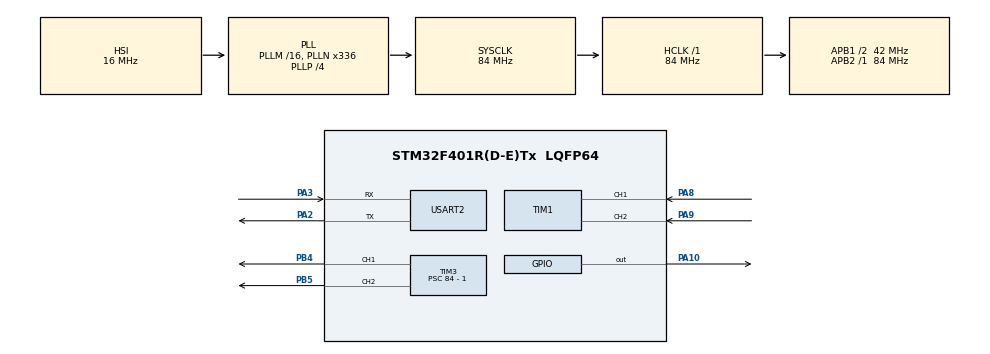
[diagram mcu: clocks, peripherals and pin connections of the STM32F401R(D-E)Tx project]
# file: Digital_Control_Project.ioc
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Mcu.Family=STM32F4
Mcu.Name=STM32F401R(D-E)Tx
Mcu.Package=LQFP64
NVIC.PriorityGroup=NVIC_PRIORITYGROUP_4
NVIC.TIM4_IRQn=true\:0\:0\:false\:false\:true\:true\:true\:true
PA10.Signal=GPIO_Output
PA2.Mode=Asynchronous
PA2.Signal=USART2_TX
PA3.Mode=Asynchronous
PA3.Signal=USART2_RX
PA8.Signal=S_TIM1_CH1
PA9.Signal=S_TIM1_CH2
PB4.Signal=S_TIM3_CH1
PB5.Signal=S_TIM3_CH2
ProjectManager.HeapSize=0x200
ProjectManager.StackSize=0x400
ProjectManager.TargetToolchain=STM32CubeIDE
RCC.48MHZClocksFreq_Value=84000000
RCC.AHBFreq_Value=84000000
RCC.APB1CLKDivider=RCC_HCLK_DIV2
RCC.APB1Freq_Value=42000000
RCC.APB1TimFreq_Value=84000000
RCC.APB2Freq_Value=84000000
RCC.APB2TimFreq_Value=84000000
RCC.CortexFreq_Value=84000000
RCC.HCLKFreq_Value=84000000
RCC.HSE_VALUE=25000000
RCC.HSI_VALUE=16000000
RCC.LSE_VALUE=32768
RCC.PLLN=336
RCC.PLLP=RCC_PLLP_DIV4
RCC.SYSCLKFreq_VALUE=84000000
RCC.SYSCLKSource=RCC_SYSCLKSOURCE_PLLCLK
RCC.VCOOutputFreq_Value=336000000
SH.S_TIM1_CH1.0=TIM1_CH1,Encoder_Interface
SH.S_TIM1_CH2.0=TIM1_CH2,Encoder_Interface
SH.S_TIM3_CH1.0=TIM3_CH1,PWM Generation1 CH1
SH.S_TIM3_CH2.0=TIM3_CH2,PWM Generation2 CH2
TIM1.EncoderMode=TIM_ENCODERMODE_TI12
TIM3.AutoReloadPreload=TIM_AUTORELOAD_PRELOAD_ENABLE
TIM3.Channel-PWM\ Generation1\ CH1=TIM_CHANNEL_1
TIM3.Channel-PWM\ Generation2\ CH2=TIM_CHANNEL_2
TIM3.Period=500 - 1
TIM3.Prescaler=84 - 1
TIM4.Period=5000 - 1
TIM4.Prescaler=84 - 1
USART2.VirtualMode=VM_ASYNC
VP_TIM3_VS_ClockSourceINT.Mode=Internal
VP_TIM4_VS_ClockSourceINT.Mode=Internal
board=custom

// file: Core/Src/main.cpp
/* USER CODE BEGIN Header */
/**
 ******************************************************************************
 * @file           : main.c
 * @brief          : Main program body
 ******************************************************************************
 * @attention
 *
 * <h2><center>&copy; Copyright (c) 2021 STMicroelectronics.
 * All rights reserved.</center></h2>
 *
 * This software component is licensed by ST under BSD 3-Clause license,
 * the "License"; You may not use this file except in compliance with the
 * License. You may obtain a copy of the License at:
 *                        opensource.org/licenses/BSD-3-Clause
 *
 ******************************************************************************
 */
/* USER CODE END Header */
#include "main.h"

/* USER CODE BEGIN Includes */
#include "stdio.h"
#include "stdlib.h"
#include "stdbool.h"
#include "math.h"
#include "string.h"
#include  <errno.h>
#include  <sys/unistd.h> // STDOUT_FILENO, STDERR_FILENO
/* USER CODE END Includes */

/* USER CODE BEGIN PD */
#define WAITING 2 // the number of seconds to wait from one reference change to the next. It also coincides with the number of seconds between one USART send and the next
/* USER CODE END PD */

TIM_HandleTypeDef htim1;
TIM_HandleTypeDef htim3;
TIM_HandleTypeDef htim4;

UART_HandleTypeDef huart2;

void SystemClock_Config(void);
static void MX_GPIO_Init(void);
static void MX_USART2_UART_Init(void);
static void MX_TIM3_Init(void);
static void MX_TIM1_Init(void);
static void MX_TIM4_Init(void);

/* USER CODE BEGIN 0 */
/* BEGIN CIRCULAR DATA BUFFER */
typedef struct circular_buffer {
	void *buffer;     // data buffer
	void *buffer_end; // end of data buffer
	size_t capacity;  // maximum number of items in the buffer
	size_t count;     // number of items in the buffer
	size_t sz;        // size of each item in the buffer
	void *head;       // pointer to head
	void *tail;       // pointer to tail
	bool writing;  // signals if the buffer is being written
} circular_buffer;

void cb_init(circular_buffer *cb, size_t capacity, size_t sz) {
	cb->buffer = calloc(capacity, sz);
	if (cb->buffer == NULL)
		printf("ALLOCATED NULL\n\r");
	// handle error
	cb->buffer_end = (char*) cb->buffer + capacity * sz;
	cb->capacity = capacity;
	cb->count = 0;
	cb->sz = sz;
	cb->head = cb->buffer;
	cb->tail = cb->buffer;
	cb->writing = false;

}

void cb_free(circular_buffer *cb) {
	free(cb->buffer);
	// clear out other fields too, just to be safe
}

void cb_push_back(circular_buffer *cb, const void *item) {
	if (cb->count == cb->capacity) {
		printf("ERROR PUSH BACK \n\r");
		// handle error
	}
	cb->writing = true;
	memmove(cb->head, item, cb->sz);
	cb->head = (char*) cb->head + cb->sz;
	if (cb->head == cb->buffer_end)
		cb->head = cb->buffer;
	cb->count++;
	cb->writing = false;
}

void cb_pop_front(circular_buffer *cb, void *item) {
	if (cb->count == 0) {
		printf("ERROR PUSH BACK \n\r");
		// handle error
	}
	memmove(item, cb->tail, cb->sz);
	cb->tail = (char*) cb->tail + cb->sz;
	if (cb->tail == cb->buffer_end)
		cb->tail = cb->buffer;
	while ((cb->writing))
		;
	cb->count--;
}

circular_buffer myBuff;

/* BEGIN RECORD TYPEDEF*/
typedef struct record {
	double current_u; // value of the current controller output
	double current_y; // value of the current motor output (speed)
	uint32_t cycleCoreDuration; // time needed to read, compute and actuate
	uint32_t cycleBeginDelay; // difference between the actual and the expected absolute start time of the cycle
	uint32_t currentTimestamp; // current timestamp in millis
} record;

/* BEGIN USART WRITE FUNCTION (used by printf)*/
int _write(int file, char *data, int len) {
	if ((file != STDOUT_FILENO) && (file != STDERR_FILENO)) {
		errno = EBADF;
		return -1;
	}

	// arbitrary timeout 1000
	HAL_StatusTypeDef status = HAL_UART_Transmit(&huart2, (uint8_t*) data, len,
			1000);

	// return # of bytes written - as best we can tell
	return (status == HAL_OK ? len : 0);
}

void setPulseFromDutyValue(double dutyVal) {
	HAL_GPIO_WritePin(GPIOA, GPIO_PIN_10, GPIO_PIN_SET); // enable the motor driver

	uint16_t channelToModulate;
	uint16_t channelToStop;

	if (dutyVal > 0) {
		channelToModulate = TIM_CHANNEL_1;
		channelToStop = TIM_CHANNEL_2;
	} else {
		channelToModulate = TIM_CHANNEL_2;
		channelToStop = TIM_CHANNEL_1;
	}

	__HAL_TIM_SET_COMPARE(&htim3, channelToStop, 0);
	__HAL_TIM_SET_COMPARE(&htim3, channelToModulate,
			(abs(dutyVal) * ((double )htim3.Init.Period)) / 100); //cast integer value to double to correctly perform division between decimal numbers
}

double getSpeedByDelta(double ticksDelta, double Ts) {
	return ticksDelta * 60 / (3591.84 * Ts);
}

double getTicksDelta(double currentTicks, double lastTicks, double Ts) {
	double delta;

	if (abs(currentTicks - lastTicks) <= ceil(8400 * Ts))
		delta = currentTicks - lastTicks;
	else {
		if (lastTicks > currentTicks)
			delta = currentTicks + pow(2, 16) - 1 - lastTicks;
		else
			delta = currentTicks - pow(2, 16) + 1 - lastTicks;
	}
	return delta;
}

int cycleduration;
double lastTicks = 0;
double currentTicks = 0;
uint32_t ticControlStep;
uint32_t tocControlStep;
uint32_t controlComputationDuration;
double u_last = 0;
double e_last = 0;
double z_last = 0;
double speed_last = 0;
double u2_last = 0;
double Ts = 0.005;
double referenceVals[8] = { 60.0, 80.0, 100.0, 130.0, -130.0, -100.0, -80.0,
		-60.0 };
double referenceVal;
uint32_t k_controller = -1;
int samplingPrescaler = 2;
int samplingPrescalerCounter = 0;

double **Ad;
double **Bd;
double **Cd;
double **state_kplus1;
double **state_k;
double **y_k_expected;
double **L;

int Ad_rows = 2;
int Ad_columns = 2;
int Bd_rows = 2;
int Bd_columns = 1;
int Cd_rows = 1;
int Cd_columns = 2;
int L_rows = 2;
int L_columns = 1;
int state_rows = 2;
int state_columns = 1;
int y_k_expected_rows = 1;
int y_k_expected_columns = 1;
int u_rows = 1;
int u_columns = 1;

double kp_1 = 0.0770;
double kp_2 = -0.0645;
double ki = 0.042;
double y_integrator = 0;
double y_integrator_last = 0;
double error_integrator_last = 0;

double** createMatrix(int n, int m) {
	double *values = (double*) calloc(m * n, sizeof(double));
	double **rows = (double**) malloc(n * sizeof(double*));
	for (int i = 0; i < n; ++i) {
		rows[i] = values + i * m;
	}
	return rows;
}

void multiply_matricies(double **m1, double **m2, int m1_rows, int m1_columns,
		int m2_rows, int m2_columns, double **m3) {

	for (int i = 0; i < m1_rows; i++) {
		for (int j = 0; j < m2_columns; j++) {
			m3[i][j] = 0;
			for (int k = 0; k < m1_rows && k<m2_rows; k++) {
				m3[i][j] += m1[i][k] * m2[k][j];
			}
		}
	}
}

void destroyArray(double **arr) {
	free(*arr);
	free(arr);
}

void matrix_inizialization() {
	Ad = createMatrix(Ad_rows, Ad_columns);
	Ad[0][0] = 0.8645;
	Ad[0][1] = -0.0565;
	Ad[1][0] = 1.0;
	Ad[1][1] = 0;

	Bd = createMatrix(Bd_rows, Bd_columns);
	Bd[0][0] = 1;
	Bd[1][0] = 0;

	Cd = createMatrix(Cd_rows, Cd_columns);
	Cd[0][0] = 1.4424;
	Cd[0][1] = 0.4751;

	L = createMatrix(L_rows, L_columns);
	L[0][0] = 0.3789;
	L[1][0] = 0.4549;

	state_kplus1 = createMatrix(state_rows, state_columns);
	state_k = createMatrix(state_rows, state_columns);
	y_k_expected = createMatrix(y_k_expected_rows, y_k_expected_columns);

}

/**
 * Return the result in the matrix m1
 */
void matrix_sum(double **m1, double **m2, double rows, double columns) {

	for (int i = 0; i < rows; i++) {
		for (int j = 0; j < columns; j++) {
			m1[i][j] = m1[i][j] + m2[i][j];
		}
	}
}

/* USER CODE END 0 */

int main(void) {
	/* MCU Configuration--------------------------------------------------------*/

	matrix_inizialization();
	/* Reset of all peripherals, Initializes the Flash interface and the Systick. */
	HAL_Init();

	/* USER CODE BEGIN Init */
	size_t bufferSize = (size_t) ceil(2 * WAITING / (Ts * samplingPrescaler));
	cb_init(&myBuff, bufferSize, sizeof(record));

	/* USER CODE END Init */

	/* Configure the system clock */
	SystemClock_Config();

	/* Initialize all configured peripherals */
	MX_GPIO_Init();
	MX_USART2_UART_Init();
	MX_TIM3_Init();
	MX_TIM1_Init();
	MX_TIM4_Init();
	/* USER CODE BEGIN 2 */
	HAL_TIM_PWM_Start(&htim3, TIM_CHANNEL_1);
	HAL_TIM_PWM_Start(&htim3, TIM_CHANNEL_2);
	HAL_TIM_Base_Start(&htim1);
	HAL_TIM_Base_Start_IT(&htim4);
	/* USER CODE END 2 */

	/* Infinite loop */
	/* USER CODE BEGIN WHILE */

	int referenceIndex = 0;

	referenceVal = referenceVals[referenceIndex];
	printf("INIT\n\r"); // initialize the Matlab tool for COM data acquiring

	while (1) {
		size_t nEntriesToSend = myBuff.count; //number of samples not read yet
		record retrieved; //buffer entry

		for (size_t count = 0; count < nEntriesToSend; count++) {
			cb_pop_front(&myBuff, &retrieved); //take entry from the buffer
			printf("%lu, %f, %f, %lu\n\r", retrieved.currentTimestamp,
					retrieved.current_u, retrieved.current_y,
					retrieved.cycleCoreDuration); // send values via USART using format: value1, value2, value3, ... valuen \n \r
		}
		referenceVal = referenceVals[referenceIndex];
		referenceIndex = referenceIndex + 1;
		HAL_Delay(WAITING * 1000); // takes a time value in ms
		if (referenceIndex > 7)
			referenceIndex = 0;

		/* USER CODE END WHILE */

	}
}

void SystemClock_Config(void) {
	RCC_OscInitTypeDef RCC_OscInitStruct = { 0 };
	RCC_ClkInitTypeDef RCC_ClkInitStruct = { 0 };

	/** Configure the main internal regulator output voltage
	 */
	__HAL_RCC_PWR_CLK_ENABLE();
	__HAL_PWR_VOLTAGESCALING_CONFIG(PWR_REGULATOR_VOLTAGE_SCALE2);
	/** Initializes the RCC Oscillators according to the specified parameters
	 * in the RCC_OscInitTypeDef structure.
	 */
	RCC_OscInitStruct.OscillatorType = RCC_OSCILLATORTYPE_HSI;
	RCC_OscInitStruct.HSIState = RCC_HSI_ON;
	RCC_OscInitStruct.HSICalibrationValue = RCC_HSICALIBRATION_DEFAULT;
	RCC_OscInitStruct.PLL.PLLState = RCC_PLL_ON;
	RCC_OscInitStruct.PLL.PLLSource = RCC_PLLSOURCE_HSI;
	RCC_OscInitStruct.PLL.PLLM = 16;
	RCC_OscInitStruct.PLL.PLLN = 336;
	RCC_OscInitStruct.PLL.PLLP = RCC_PLLP_DIV4;
	RCC_OscInitStruct.PLL.PLLQ = 4;
	if (HAL_RCC_OscConfig(&RCC_OscInitStruct) != HAL_OK) {
		Error_Handler();
	}
	/** Initializes the CPU, AHB and APB buses clocks
	 */
	RCC_ClkInitStruct.ClockType = RCC_CLOCKTYPE_HCLK | RCC_CLOCKTYPE_SYSCLK
			| RCC_CLOCKTYPE_PCLK1 | RCC_CLOCKTYPE_PCLK2;
	RCC_ClkInitStruct.SYSCLKSource = RCC_SYSCLKSOURCE_PLLCLK;
	RCC_ClkInitStruct.AHBCLKDivider = RCC_SYSCLK_DIV1;
	RCC_ClkInitStruct.APB1CLKDivider = RCC_HCLK_DIV2;
	RCC_ClkInitStruct.APB2CLKDivider = RCC_HCLK_DIV1;

	if (HAL_RCC_ClockConfig(&RCC_ClkInitStruct, FLASH_LATENCY_2) != HAL_OK) {
		Error_Handler();
	}
}

static void MX_TIM1_Init(void) {

	TIM_Encoder_InitTypeDef sConfig = { 0 };
	TIM_MasterConfigTypeDef sMasterConfig = { 0 };

	htim1.Instance = TIM1;
	htim1.Init.Prescaler = 0;
	htim1.Init.CounterMode = TIM_COUNTERMODE_UP;
	htim1.Init.Period = 65535;
	htim1.Init.ClockDivision = TIM_CLOCKDIVISION_DIV1;
	htim1.Init.RepetitionCounter = 0;
	htim1.Init.AutoReloadPreload = TIM_AUTORELOAD_PRELOAD_DISABLE;
	sConfig.EncoderMode = TIM_ENCODERMODE_TI12;
	sConfig.IC1Polarity = TIM_ICPOLARITY_RISING;
	sConfig.IC1Selection = TIM_ICSELECTION_DIRECTTI;
	sConfig.IC1Prescaler = TIM_ICPSC_DIV1;
	sConfig.IC1Filter = 0;
	sConfig.IC2Polarity = TIM_ICPOLARITY_RISING;
	sConfig.IC2Selection = TIM_ICSELECTION_DIRECTTI;
	sConfig.IC2Prescaler = TIM_ICPSC_DIV1;
	sConfig.IC2Filter = 0;
	if (HAL_TIM_Encoder_Init(&htim1, &sConfig) != HAL_OK) {
		Error_Handler();
	}
	sMasterConfig.MasterOutputTrigger = TIM_TRGO_RESET;
	sMasterConfig.MasterSlaveMode = TIM_MASTERSLAVEMODE_DISABLE;
	if (HAL_TIMEx_MasterConfigSynchronization(&htim1, &sMasterConfig)
			!= HAL_OK) {
		Error_Handler();
	}

}

static void MX_TIM3_Init(void) {

	TIM_ClockConfigTypeDef sClockSourceConfig = { 0 };
	TIM_MasterConfigTypeDef sMasterConfig = { 0 };
	TIM_OC_InitTypeDef sConfigOC = { 0 };

	htim3.Instance = TIM3;
	htim3.Init.Prescaler = 84 - 1;
	htim3.Init.CounterMode = TIM_COUNTERMODE_UP;
	htim3.Init.Period = 500 - 1;
	htim3.Init.ClockDivision = TIM_CLOCKDIVISION_DIV1;
	htim3.Init.AutoReloadPreload = TIM_AUTORELOAD_PRELOAD_ENABLE;
	if (HAL_TIM_Base_Init(&htim3) != HAL_OK) {
		Error_Handler();
	}
	sClockSourceConfig.ClockSource = TIM_CLOCKSOURCE_INTERNAL;
	if (HAL_TIM_ConfigClockSource(&htim3, &sClockSourceConfig) != HAL_OK) {
		Error_Handler();
	}
	if (HAL_TIM_PWM_Init(&htim3) != HAL_OK) {
		Error_Handler();
	}
	sMasterConfig.MasterOutputTrigger = TIM_TRGO_RESET;
	sMasterConfig.MasterSlaveMode = TIM_MASTERSLAVEMODE_DISABLE;
	if (HAL_TIMEx_MasterConfigSynchronization(&htim3, &sMasterConfig)
			!= HAL_OK) {
		Error_Handler();
	}
	sConfigOC.OCMode = TIM_OCMODE_PWM1;
	sConfigOC.Pulse = 0;
	sConfigOC.OCPolarity = TIM_OCPOLARITY_HIGH;
	sConfigOC.OCFastMode = TIM_OCFAST_DISABLE;
	if (HAL_TIM_PWM_ConfigChannel(&htim3, &sConfigOC, TIM_CHANNEL_1)
			!= HAL_OK) {
		Error_Handler();
	}
	if (HAL_TIM_PWM_ConfigChannel(&htim3, &sConfigOC, TIM_CHANNEL_2)
			!= HAL_OK) {
		Error_Handler();
	}
	HAL_TIM_MspPostInit(&htim3);

}

static void MX_TIM4_Init(void) {

	TIM_ClockConfigTypeDef sClockSourceConfig = { 0 };
	TIM_MasterConfigTypeDef sMasterConfig = { 0 };

	htim4.Instance = TIM4;
	htim4.Init.Prescaler = 84 - 1;
	htim4.Init.CounterMode = TIM_COUNTERMODE_UP;
	htim4.Init.Period = 5000 - 1;
	htim4.Init.ClockDivision = TIM_CLOCKDIVISION_DIV1;
	htim4.Init.AutoReloadPreload = TIM_AUTORELOAD_PRELOAD_DISABLE;
	if (HAL_TIM_Base_Init(&htim4) != HAL_OK) {
		Error_Handler();
	}
	sClockSourceConfig.ClockSource = TIM_CLOCKSOURCE_INTERNAL;
	if (HAL_TIM_ConfigClockSource(&htim4, &sClockSourceConfig) != HAL_OK) {
		Error_Handler();
	}
	sMasterConfig.MasterOutputTrigger = TIM_TRGO_RESET;
	sMasterConfig.MasterSlaveMode = TIM_MASTERSLAVEMODE_DISABLE;
	if (HAL_TIMEx_MasterConfigSynchronization(&htim4, &sMasterConfig)
			!= HAL_OK) {
		Error_Handler();
	}

}

static void MX_USART2_UART_Init(void) {

	huart2.Instance = USART2;
	huart2.Init.BaudRate = 115200;
	huart2.Init.WordLength = UART_WORDLENGTH_8B;
	huart2.Init.StopBits = UART_STOPBITS_1;
	huart2.Init.Parity = UART_PARITY_NONE;
	huart2.Init.Mode = UART_MODE_TX_RX;
	huart2.Init.HwFlowCtl = UART_HWCONTROL_NONE;
	huart2.Init.OverSampling = UART_OVERSAMPLING_16;
	if (HAL_UART_Init(&huart2) != HAL_OK) {
		Error_Handler();
	}

}

static void MX_GPIO_Init(void) {
	GPIO_InitTypeDef GPIO_InitStruct = { 0 };

	/* GPIO Ports Clock Enable */
	__HAL_RCC_GPIOA_CLK_ENABLE();
	__HAL_RCC_GPIOB_CLK_ENABLE();

	/*Configure GPIO pin Output Level */
	HAL_GPIO_WritePin(GPIOA, GPIO_PIN_10, GPIO_PIN_RESET);

	/*Configure GPIO pin : PA10 */
	GPIO_InitStruct.Pin = GPIO_PIN_10;
	GPIO_InitStruct.Mode = GPIO_MODE_OUTPUT_PP;
	GPIO_InitStruct.Pull = GPIO_NOPULL;
	GPIO_InitStruct.Speed = GPIO_SPEED_FREQ_LOW;
	HAL_GPIO_Init(GPIOA, &GPIO_InitStruct);

}

void luenberger_observer(double u_last, double y) {

	for(int i=0; i<state_rows;i++){
		for(int j =0; j< state_columns; j++){
			state_k[i][j] = state_kplus1[i][j];
		}
	}

	double **u_matrix = createMatrix(u_rows, u_columns);
	u_matrix[0][0] = u_last;

	double **sum_center = createMatrix(Bd_rows, u_columns);
	multiply_matricies(Bd, u_matrix, Bd_rows, Bd_columns, 1, 1, sum_center);

	double **sub_y = createMatrix(y_k_expected_rows, y_k_expected_columns);
	multiply_matricies(Cd, state_k, Cd_rows, Cd_columns, state_rows, state_columns, y_k_expected);
	sub_y[0][0] = y - y_k_expected[0][0];

	double **sum_top = createMatrix(L_rows, y_k_expected_columns);
	multiply_matricies(L, sub_y, L_rows, L_columns, y_k_expected_rows, y_k_expected_columns, sum_top);

	double **sum_bottom = createMatrix(Ad_rows, state_columns);
	multiply_matricies(Ad, state_k, Ad_rows,Ad_columns, state_rows, state_columns, sum_bottom);

	matrix_sum(state_kplus1, sum_top, L_rows, y_k_expected_columns);
	matrix_sum(state_kplus1, sum_center, L_rows, y_k_expected_columns);
	matrix_sum(state_kplus1, sum_bottom, L_rows, y_k_expected_columns);

	destroyArray(sub_y);
	destroyArray(sum_top);
	destroyArray(sum_center);
	destroyArray(sum_bottom);
}

/* USER CODE BEGIN 4 */
void HAL_TIM_PeriodElapsedCallback(TIM_HandleTypeDef *htim) {
	if (htim == &htim4) {
		k_controller = k_controller + 1;
		if (k_controller == 0) {
			ticControlStep = HAL_GetTick();
		}
		tocControlStep = HAL_GetTick();

		currentTicks = (double) __HAL_TIM_GET_COUNTER(&htim1); //take current value of ticks counting the encoder edges

		//take the current motor speed
		double speed = getSpeedByDelta(
				getTicksDelta(currentTicks, lastTicks, Ts), Ts);

		// state estimation with Luenberger observer, after this function the state_k is updated
		luenberger_observer(u_last, speed);

		// State Feedback --------------------------------------------
		double error = speed - referenceVal;
		y_integrator = y_integrator_last -ki*error_integrator_last;

		double kx = kp_1*state_k[0][0] + kp_2*state_k[1][0];

		double u = y_integrator - kx;

		setPulseFromDutyValue(u * 100 / 12);

		//------------------------------------------------------------

		error_integrator_last = error;

		controlComputationDuration = HAL_GetTick() - tocControlStep;
		lastTicks = currentTicks;
		// recording data in the buffer
		record r;
		r.current_u = u;
		r.current_y = speed;
		r.cycleCoreDuration = controlComputationDuration;
		r.cycleBeginDelay = tocControlStep - ticControlStep
				- (k_controller * Ts * 1000);
		r.currentTimestamp = HAL_GetTick();
		if (samplingPrescalerCounter == (samplingPrescaler - 1)) {
			cb_push_back(&myBuff, &r);
			samplingPrescalerCounter = -1;
		}
		samplingPrescalerCounter++;
	}
}
/* USER CODE END 4 */

void Error_Handler(void) {
	__disable_irq();
	while (1) {
	}
}

/************************ (C) COPYRIGHT STMicroelectronics *****END OF FILE****/
